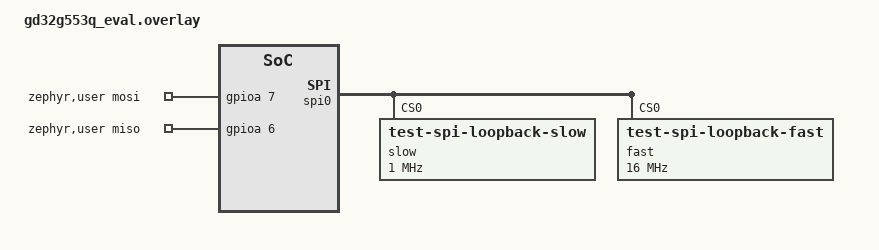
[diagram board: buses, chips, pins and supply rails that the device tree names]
/*
 * Copyright (c) 2026 GigaDevice Semiconductor Inc.
 *
 * SPDX-License-Identifier: Apache-2.0
 */

/ {
	zephyr,user {
		/* PA7 (MOSI) is shorted to PA6 (MISO) for the deinit test. */
		mosi-gpios = <&gpioa 7 GPIO_ACTIVE_HIGH>;
		miso-gpios = <&gpioa 6 GPIO_ACTIVE_HIGH>;
	};
};

/* spi0 uses PA5/PA6/PA7 from the board pinctrl; spi2 keeps the NOR flash. */
&spi0 {
	status = "okay";

	/* APB2 is 216 MHz, so the slowest SPI clock is 216 MHz / 256 = 843.75 kHz. */
	slow@0 {
		compatible = "test-spi-loopback-slow";
		reg = <0>;
		spi-max-frequency = <1000000>;
	};

	fast@0 {
		compatible = "test-spi-loopback-fast";
		reg = <0>;
		spi-max-frequency = <16000000>;
	};
};
